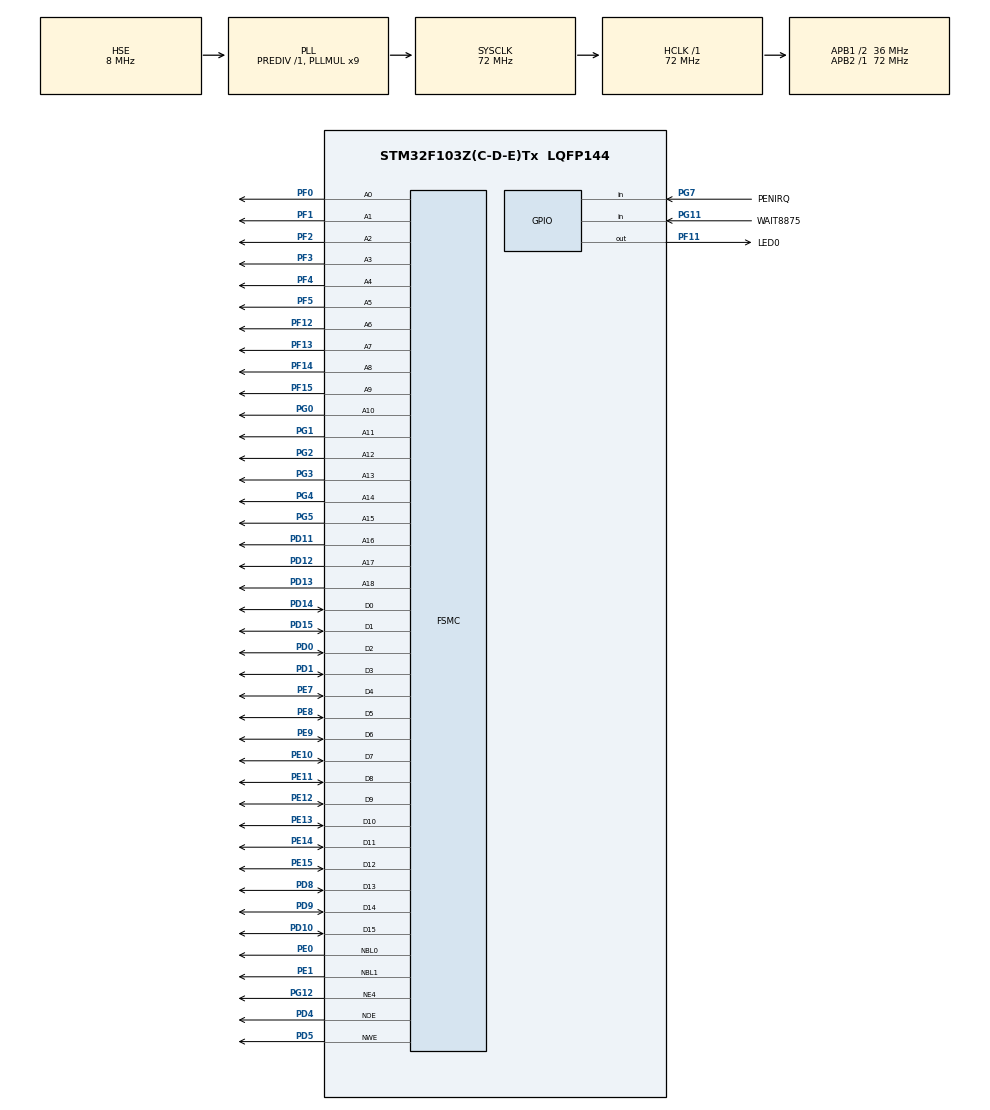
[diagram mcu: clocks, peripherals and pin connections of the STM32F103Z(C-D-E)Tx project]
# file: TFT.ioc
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FSMC.AddressSetupTime4=0
FSMC.BusTurnAroundDuration4=0
FSMC.DataSetupTime4=3
FSMC.WriteOperation4=FSMC_WRITE_OPERATION_ENABLE
Mcu.Family=STM32F1
Mcu.Name=STM32F103Z(C-D-E)Tx
Mcu.Package=LQFP144
NVIC.PriorityGroup=NVIC_PRIORITYGROUP_4
OSC_IN.Mode=HSE-External-Oscillator
OSC_IN.Signal=RCC_OSC_IN
OSC_OUT.Mode=HSE-External-Oscillator
OSC_OUT.Signal=RCC_OSC_OUT
PA13.Mode=Serial_Wire
PA13.Signal=SYS_JTMS-SWDIO
PA14.Mode=Serial_Wire
PA14.Signal=SYS_JTCK-SWCLK
PD0.Signal=FSMC_D2_DA2
PD1.Signal=FSMC_D3_DA3
PD10.Signal=FSMC_D15_DA15
PD11.Signal=FSMC_A16_CLE
PD12.Signal=FSMC_A17_ALE
PD13.Signal=FSMC_A18
PD14.Signal=FSMC_D0_DA0
PD15.Signal=FSMC_D1_DA1
PD4.Signal=FSMC_NOE
PD5.Signal=FSMC_NWE
PD8.Signal=FSMC_D13_DA13
PD9.Signal=FSMC_D14_DA14
PE0.Signal=FSMC_NBL0
PE1.Signal=FSMC_NBL1
PE10.Signal=FSMC_D7_DA7
PE11.Signal=FSMC_D8_DA8
PE12.Signal=FSMC_D9_DA9
PE13.Signal=FSMC_D10_DA10
PE14.Signal=FSMC_D11_DA11
PE15.Signal=FSMC_D12_DA12
PE7.Signal=FSMC_D4_DA4
PE8.Signal=FSMC_D5_DA5
PE9.Signal=FSMC_D6_DA6
PF0.Signal=FSMC_A0
PF1.Signal=FSMC_A1
PF11.GPIO_Label=LED0
PF11.Signal=GPIO_Output
PF12.Signal=FSMC_A6
PF13.Signal=FSMC_A7
PF14.Signal=FSMC_A8
PF15.Signal=FSMC_A9
PF2.Signal=FSMC_A2
PF3.Signal=FSMC_A3
PF4.Signal=FSMC_A4
PF5.Signal=FSMC_A5
PG0.Signal=FSMC_A10
PG1.Signal=FSMC_A11
PG11.GPIO_Label=WAIT8875
PG11.GPIO_PuPd=GPIO_PULLUP
PG11.Signal=GPIO_Input
PG12.Mode=NorPsramChipSelect4_4
PG12.Signal=FSMC_NE4
PG2.Signal=FSMC_A12
PG3.Signal=FSMC_A13
PG4.Signal=FSMC_A14
PG5.Signal=FSMC_A15
PG7.GPIO_Label=PENIRQ
PG7.GPIO_PuPd=GPIO_PULLUP
PG7.Signal=GPIO_Input
ProjectManager.HeapSize=0x200
ProjectManager.StackSize=0x400
ProjectManager.TargetToolchain=MDK-ARM V5.32
RCC.AHBFreq_Value=72000000
RCC.APB1CLKDivider=RCC_HCLK_DIV2
RCC.APB1Freq_Value=36000000
RCC.APB1TimFreq_Value=72000000
RCC.APB2Freq_Value=72000000
RCC.APB2TimFreq_Value=72000000
RCC.HCLKFreq_Value=72000000
RCC.PLLMUL=RCC_PLL_MUL9
RCC.PLLSourceVirtual=RCC_PLLSOURCE_HSE
RCC.SYSCLKFreq_VALUE=72000000
RCC.SYSCLKSource=RCC_SYSCLKSOURCE_PLLCLK
RCC.USBFreq_Value=72000000
SH.FSMC_A0.0=FSMC_A0,19b-a4
SH.FSMC_A1.0=FSMC_A1,19b-a4
SH.FSMC_A10.0=FSMC_A10,19b-a4
SH.FSMC_A11.0=FSMC_A11,19b-a4
SH.FSMC_A12.0=FSMC_A12,19b-a4
SH.FSMC_A13.0=FSMC_A13,19b-a4
SH.FSMC_A14.0=FSMC_A14,19b-a4
SH.FSMC_A15.0=FSMC_A15,19b-a4
SH.FSMC_A16_CLE.0=FSMC_A16,19b-a4
SH.FSMC_A17_ALE.0=FSMC_A17,19b-a4
SH.FSMC_A18.0=FSMC_A18,19b-a4
SH.FSMC_A2.0=FSMC_A2,19b-a4
SH.FSMC_A3.0=FSMC_A3,19b-a4
SH.FSMC_A4.0=FSMC_A4,19b-a4
SH.FSMC_A5.0=FSMC_A5,19b-a4
SH.FSMC_A6.0=FSMC_A6,19b-a4
SH.FSMC_A7.0=FSMC_A7,19b-a4
SH.FSMC_A8.0=FSMC_A8,19b-a4
SH.FSMC_A9.0=FSMC_A9,19b-a4
SH.FSMC_D0_DA0.0=FSMC_D0,16b-d4
SH.FSMC_D10_DA10.0=FSMC_D10,16b-d4
SH.FSMC_D11_DA11.0=FSMC_D11,16b-d4
SH.FSMC_D12_DA12.0=FSMC_D12,16b-d4
SH.FSMC_D13_DA13.0=FSMC_D13,16b-d4
SH.FSMC_D14_DA14.0=FSMC_D14,16b-d4
SH.FSMC_D15_DA15.0=FSMC_D15,16b-d4
SH.FSMC_D1_DA1.0=FSMC_D1,16b-d4
SH.FSMC_D2_DA2.0=FSMC_D2,16b-d4
SH.FSMC_D3_DA3.0=FSMC_D3,16b-d4
SH.FSMC_D4_DA4.0=FSMC_D4,16b-d4
SH.FSMC_D5_DA5.0=FSMC_D5,16b-d4
SH.FSMC_D6_DA6.0=FSMC_D6,16b-d4
SH.FSMC_D7_DA7.0=FSMC_D7,16b-d4
SH.FSMC_D8_DA8.0=FSMC_D8,16b-d4
SH.FSMC_D9_DA9.0=FSMC_D9,16b-d4
SH.FSMC_NBL0.0=FSMC_NBL0,2ByteEnable4
SH.FSMC_NBL1.0=FSMC_NBL1,2ByteEnable4
SH.FSMC_NOE.0=FSMC_NOE,Sram4
SH.FSMC_NWE.0=FSMC_NWE,Sram4
board=custom

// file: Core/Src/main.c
/* USER CODE BEGIN Header */
/**
  ******************************************************************************
  * @file           : main.c
  * @brief          : Main program body
  ******************************************************************************
  * @attention
  *
  * Copyright (c) 2022 STMicroelectronics.
  * All rights reserved.
  *
  * This software is licensed under terms that can be found in the LICENSE file
  * in the root directory of this software component.
  * If no LICENSE file comes with this software, it is provided AS-IS.
  *
  ******************************************************************************
  */
/* USER CODE END Header */
#include "main.h"

/* USER CODE BEGIN Includes */
#include "TFTLCD.h"
#include "Graphics.h"
#include "StartBMP.h"

/* USER CODE END Includes */

 SRAM_HandleTypeDef hsram4;

void SystemClock_Config(void);
static void MX_GPIO_Init(void);
static void MX_FSMC_Init(void);

int main(void)
{
  /* USER CODE BEGIN 1 */
	uint32_t x, y;

  /* USER CODE END 1 */

  /* MCU Configuration--------------------------------------------------------*/

  /* Reset of all peripherals, Initializes the Flash interface and the Systick. */
  HAL_Init();

  /* Configure the system clock */
  SystemClock_Config();

  /* Initialize all configured peripherals */
  MX_GPIO_Init();
  MX_FSMC_Init();
  /* USER CODE BEGIN 2 */

	HAL_CWL_TFTLCD_Init();
	LcdClear(WHITE);

	RA8875_DrawHLine(0,240,800,BLACK);
	RA8875_DrawVLine(400,0,480,BLACK);
	LcdPrint16bitBmp((u16*)0x0800F000,2,2,231,205);
	for(x=2;x<231;x++)
		for(y=2;y<205;y++) {
			RA8875_PutPixelGUI(x,y+240,RA8875_GetPixelGUI(x,y));
		}
	LcdFillRec(450,60,550,180,0,BLACK);
	RA8875_RTERect(650,60,750,180,BLACK);
	LcdPrintStr("LCD experiment by weilinfox",400+2,240+2,BLACK,WHITE,0);
	LcdPrintBIAS(400,480,800,240,BLACK);
	LcdPrintBIAS(600,480,800,360,BLACK);

  /* USER CODE END 2 */

  /* Infinite loop */
  while (1)
  {

  }
}

void SystemClock_Config(void)
{
  RCC_OscInitTypeDef RCC_OscInitStruct = {0};
  RCC_ClkInitTypeDef RCC_ClkInitStruct = {0};

  /** Initializes the RCC Oscillators according to the specified parameters
  * in the RCC_OscInitTypeDef structure.
  */
  RCC_OscInitStruct.OscillatorType = RCC_OSCILLATORTYPE_HSE;
  RCC_OscInitStruct.HSEState = RCC_HSE_ON;
  RCC_OscInitStruct.HSEPredivValue = RCC_HSE_PREDIV_DIV1;
  RCC_OscInitStruct.HSIState = RCC_HSI_ON;
  RCC_OscInitStruct.PLL.PLLState = RCC_PLL_ON;
  RCC_OscInitStruct.PLL.PLLSource = RCC_PLLSOURCE_HSE;
  RCC_OscInitStruct.PLL.PLLMUL = RCC_PLL_MUL9;
  if (HAL_RCC_OscConfig(&RCC_OscInitStruct) != HAL_OK)
  {
    Error_Handler();
  }

  /** Initializes the CPU, AHB and APB buses clocks
  */
  RCC_ClkInitStruct.ClockType = RCC_CLOCKTYPE_HCLK|RCC_CLOCKTYPE_SYSCLK
                              |RCC_CLOCKTYPE_PCLK1|RCC_CLOCKTYPE_PCLK2;
  RCC_ClkInitStruct.SYSCLKSource = RCC_SYSCLKSOURCE_PLLCLK;
  RCC_ClkInitStruct.AHBCLKDivider = RCC_SYSCLK_DIV1;
  RCC_ClkInitStruct.APB1CLKDivider = RCC_HCLK_DIV2;
  RCC_ClkInitStruct.APB2CLKDivider = RCC_HCLK_DIV1;

  if (HAL_RCC_ClockConfig(&RCC_ClkInitStruct, FLASH_LATENCY_2) != HAL_OK)
  {
    Error_Handler();
  }
}

static void MX_GPIO_Init(void)
{
  GPIO_InitTypeDef GPIO_InitStruct = {0};

  /* GPIO Ports Clock Enable */
  __HAL_RCC_GPIOF_CLK_ENABLE();
  __HAL_RCC_GPIOG_CLK_ENABLE();
  __HAL_RCC_GPIOE_CLK_ENABLE();
  __HAL_RCC_GPIOD_CLK_ENABLE();
  __HAL_RCC_GPIOA_CLK_ENABLE();

  /*Configure GPIO pin Output Level */
  HAL_GPIO_WritePin(LED0_GPIO_Port, LED0_Pin, GPIO_PIN_RESET);

  /*Configure GPIO pin : LED0_Pin */
  GPIO_InitStruct.Pin = LED0_Pin;
  GPIO_InitStruct.Mode = GPIO_MODE_OUTPUT_PP;
  GPIO_InitStruct.Pull = GPIO_NOPULL;
  GPIO_InitStruct.Speed = GPIO_SPEED_FREQ_LOW;
  HAL_GPIO_Init(LED0_GPIO_Port, &GPIO_InitStruct);

  /*Configure GPIO pins : PENIRQ_Pin WAIT8875_Pin */
  GPIO_InitStruct.Pin = PENIRQ_Pin|WAIT8875_Pin;
  GPIO_InitStruct.Mode = GPIO_MODE_INPUT;
  GPIO_InitStruct.Pull = GPIO_PULLUP;
  HAL_GPIO_Init(GPIOG, &GPIO_InitStruct);

}

/* FSMC initialization function */
static void MX_FSMC_Init(void)
{

  FSMC_NORSRAM_TimingTypeDef Timing = {0};

  /** Perform the SRAM4 memory initialization sequence
  */
  hsram4.Instance = FSMC_NORSRAM_DEVICE;
  hsram4.Extended = FSMC_NORSRAM_EXTENDED_DEVICE;
  /* hsram4.Init */
  hsram4.Init.NSBank = FSMC_NORSRAM_BANK4;
  hsram4.Init.DataAddressMux = FSMC_DATA_ADDRESS_MUX_DISABLE;
  hsram4.Init.MemoryType = FSMC_MEMORY_TYPE_SRAM;
  hsram4.Init.MemoryDataWidth = FSMC_NORSRAM_MEM_BUS_WIDTH_16;
  hsram4.Init.BurstAccessMode = FSMC_BURST_ACCESS_MODE_DISABLE;
  hsram4.Init.WaitSignalPolarity = FSMC_WAIT_SIGNAL_POLARITY_LOW;
  hsram4.Init.WrapMode = FSMC_WRAP_MODE_DISABLE;
  hsram4.Init.WaitSignalActive = FSMC_WAIT_TIMING_BEFORE_WS;
  hsram4.Init.WriteOperation = FSMC_WRITE_OPERATION_ENABLE;
  hsram4.Init.WaitSignal = FSMC_WAIT_SIGNAL_DISABLE;
  hsram4.Init.ExtendedMode = FSMC_EXTENDED_MODE_DISABLE;
  hsram4.Init.AsynchronousWait = FSMC_ASYNCHRONOUS_WAIT_DISABLE;
  hsram4.Init.WriteBurst = FSMC_WRITE_BURST_DISABLE;
  /* Timing */
  Timing.AddressSetupTime = 0;
  Timing.AddressHoldTime = 15;
  Timing.DataSetupTime = 3;
  Timing.BusTurnAroundDuration = 0;
  Timing.CLKDivision = 16;
  Timing.DataLatency = 17;
  Timing.AccessMode = FSMC_ACCESS_MODE_A;
  /* ExtTiming */

  if (HAL_SRAM_Init(&hsram4, &Timing, NULL) != HAL_OK)
  {
    Error_Handler( );
  }

  /** Disconnect NADV
  */

  __HAL_AFIO_FSMCNADV_DISCONNECTED();

}

void Error_Handler(void)
{
  __disable_irq();
  while (1)
  {
  }
}
